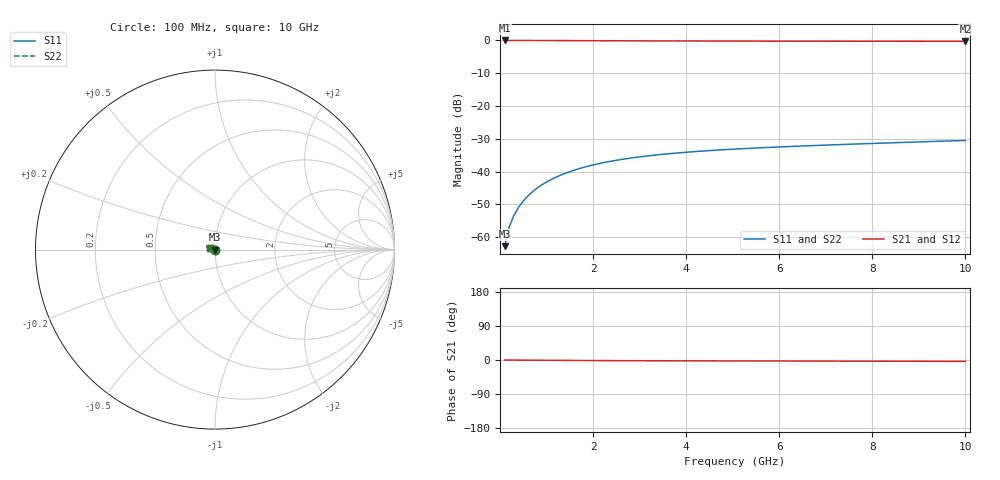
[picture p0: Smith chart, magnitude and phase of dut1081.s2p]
! Touchstone file exported from HFSS 2024.1.0
!  File:  C:/UserFiles/LocalFiles/RDL_TSV_Batchsim/temp_TSV1_1081_1780065653.aedt
!  Generated:  10:45:18 PM May 29, 2026
!  Design:  TSV1
!  Project:  temp_TSV1_1081_1780065653
!  Setup:  Setup1
!  Solution:  Sweep
! Variables:
!  dtsv = 9.13um
!  hbump = 3um
!  htsv = 52.49um
!  lrdl = 252.1521522um
!  p = 40
!  p1 = 53.73um
!  t = 500um
!  trdl = 3um
!  wrdl = 24.89489489um
# GHz S MA R 50.000000
! Terminal data exported
! Port[1] = TSV22_T1
! Port[2] = TSV22_T2
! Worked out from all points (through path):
!   100 points, 100 MHz to 10 GHz, reference 50 ohm
!   highest |S21| = 0.00 dB at 100 MHz (marker M1); lowest = -0.3 dB at 10 GHz (marker M2)
!   lowest |S11| = -62.7 dB at 100 MHz (marker M3), VSWR 1.00, Z = 50 - j0.0724 ohm
!   |S11| at or under -10 dB: start of sweep to end of sweep
!   |S22| runs from -62.7 to -30.5 dB; largest |S21 - S12| = 2.9e-15
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0.1  0.000732 -81.3  0.9998 -0.1  0.9998 -0.1  0.000732 -81.3
! Gamma 0 0 0 0
! Port Impedance 50 0 50 0
0.2  0.001443 -88.8  0.9997 -0.2  0.9997 -0.2  0.001443 -88.8
0.3  0.002155 -92.8  0.9996 -0.3  0.9996 -0.3  0.002155 -92.8
0.4  0.002864 -95.8  0.9994 -0.3  0.9994 -0.3  0.002864 -95.8
0.5  0.003567 -98.4  0.9991 -0.4  0.9991 -0.4  0.003567 -98.4
0.6  0.004263 -100.9  0.9988 -0.5  0.9988 -0.5  0.004263 -100.9
0.7  0.004951 -103.2  0.9985 -0.6  0.9985 -0.6  0.004951 -103.2
0.8  0.005628 -105.5  0.9981 -0.7  0.9981 -0.7  0.005628 -105.5
0.9  0.006294 -107.6  0.9977 -0.7  0.9977 -0.7  0.006294 -107.6
1.1  0.007589 -111.8  0.9967 -0.9  0.9967 -0.9  0.007589 -111.8
1.4  0.009423 -117.7  0.9951 -1.1  0.9951 -1.1  0.009423 -117.7
1.6  0.01057 -121.5  0.994 -1.2  0.994 -1.2  0.01057 -121.5
1.8  0.01165 -125.1  0.9928 -1.3  0.9928 -1.3  0.01165 -125.1
2.1  0.01314 -130.2  0.991 -1.5  0.991 -1.5  0.01314 -130.2
2.5  0.01492 -136.6  0.9886 -1.7  0.9886 -1.7  0.01492 -136.6
2.9  0.01646 -142.4  0.9864 -1.8  0.9864 -1.8  0.01646 -142.4
3.4  0.01811 -149.1  0.9839 -2.0  0.9839 -2.0  0.01811 -149.1
4.2  0.02027 -158.3  0.9805 -2.2  0.9805 -2.2  0.02027 -158.3
5.1  0.02219 -167.2  0.9775 -2.5  0.9775 -2.5  0.02219 -167.2
6.7  0.02495 179.9  0.9738 -2.9  0.9738 -2.9  0.02495 179.9
8.4  0.02752 169.1  0.9713 -3.3  0.9713 -3.3  0.02752 169.1
10  0.02992 160.7  0.9696 -3.7  0.9696 -3.7  0.02992 160.7
